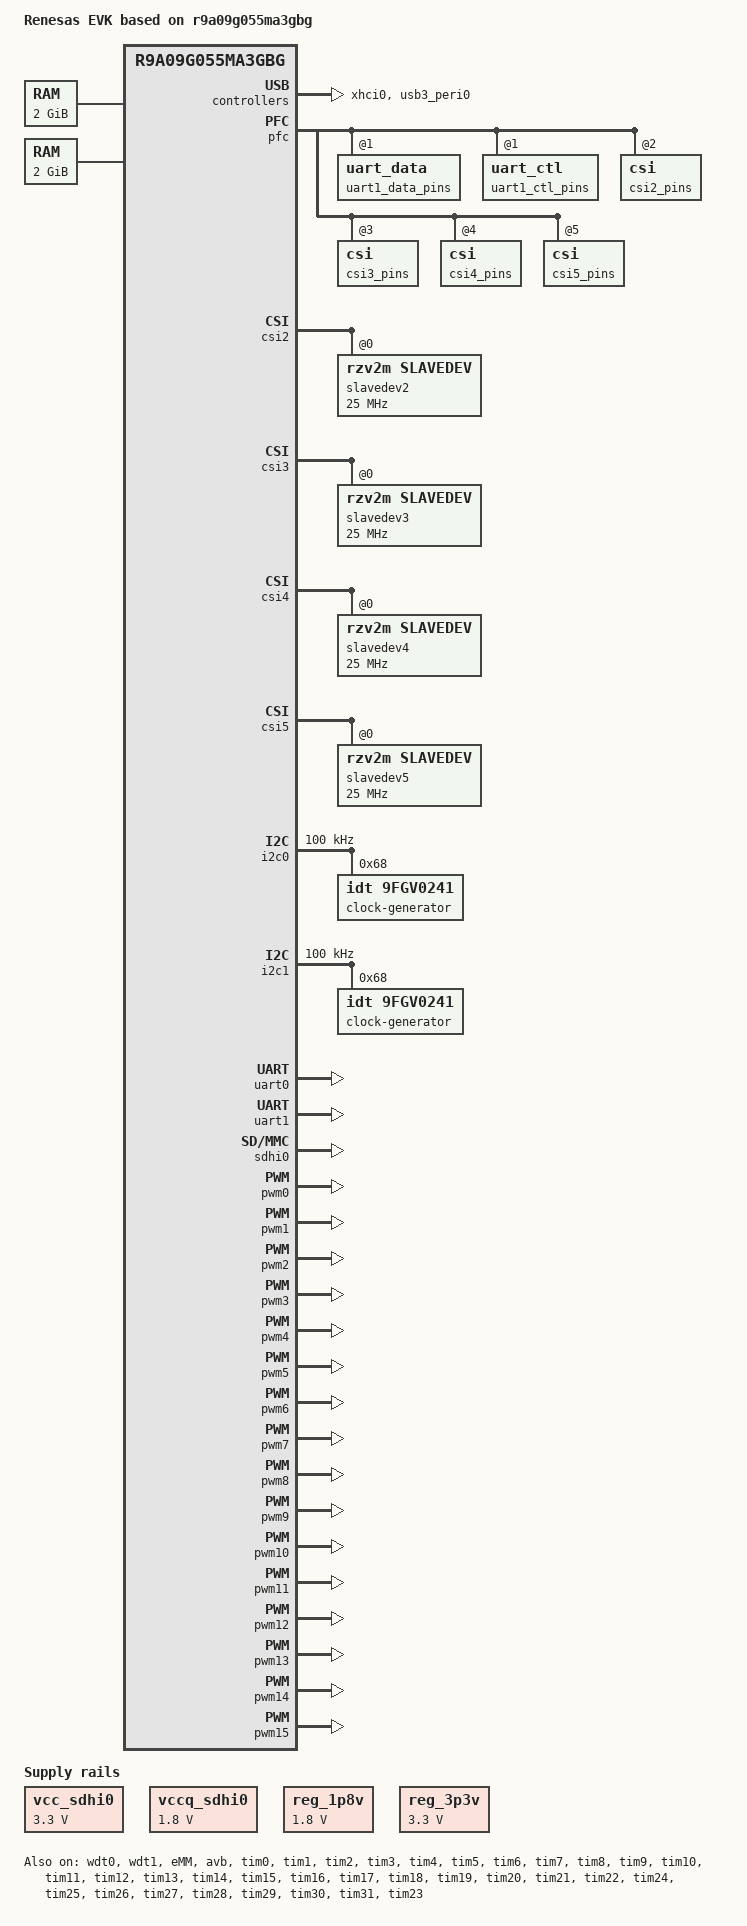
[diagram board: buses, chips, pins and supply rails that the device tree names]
// SPDX-License-Identifier: GPL-2.0
/*
 * Device Tree Source for the RZ/V2MA evaluation-board platform
 *
 * Copyright (C) 2023 Renesas Electronics Corp.
 */

/dts-v1/;
#include "r9a09g055ma3gbg.dtsi"
#include <dt-bindings/gpio/gpio.h>
#include "r9a09g055ma3gbg_reserved-memory.dtsi"
#include "r9a09g055ma3gbg_drp-ai.dtsi"
#include "r9a09g055ma3gbg_opencva.dtsi"
#include "r9a09g055ma3gbg_videocodec.dtsi"

/ {

    model = "Renesas EVK based on r9a09g055ma3gbg";
    compatible = "renesas,r9a09g055ma3gbg";

    aliases {
        serial0 = &uart0;
    };

    chosen {
        bootargs = "earlycon=uart,mmio32,0xA4040000,115200n8 console=ttyS0,115200n8 loglevel=8 vmalloc=384M root=/dev/mmcblk0p2 rootwait rootfstype=ext3 rw; rodata=off ip=dhcp";
        stdout-path = "serial0:115200n8";
    };

    memory@00000000 {
        device_type = "memory";
        reg = <0x0 0x00000000 0x0 0x80000000>;
    };

    memory@180000000 {
        device_type = "memory";
        reg = <0x1 0x80000000 0x0 0x80000000>;
    };

    vcc_sdhi0: regulator-vcc-sdhi0 {
        compatible = "regulator-fixed";

        regulator-name = "SDHI0 Vcc";
        regulator-min-microvolt = <3300000>;
        regulator-max-microvolt = <3300000>;
        regulator-always-on;
        regulator-boot-on;
    };

    vccq_sdhi0: regulator-vccq-sdhi0 {
        compatible = "regulator-fixed";

        regulator-name = "SDHI0 VccQ";
        regulator-min-microvolt = <1800000>;
	regulator-max-microvolt = <1800000>;
	regulator-always-on;
	regulator-boot-on;
    };

    reg_1p8v: regulator0 {
        compatible = "regulator-fixed";
        regulator-name = "fixed-1.8V";
        regulator-min-microvolt = <1800000>;
        regulator-max-microvolt = <1800000>;
        regulator-boot-on;
        regulator-always-on;
    };

    reg_3p3v: regulator1 {
        compatible = "regulator-fixed";
        regulator-name = "fixed-3.3V";
        regulator-min-microvolt = <3300000>;
        regulator-max-microvolt = <3300000>;
        regulator-boot-on;
        regulator-always-on;
    };
};

&cpg {
    cpg-non-set-div;
};

/* used cpg(clock pulse generator) */
&extal_clk {
    clock-frequency = <48000000>;
};

/* used watch dog timer */
&wdt0 {
	status = "okay";
	timeout-sec = <60>;
};

&wdt1 {
	status = "okay";
	timeout-sec = <60>;
};

&xhci0 {
       memory-region = <&global_cma>;
       status = "okay";
};

&usb3_peri0 {
    companion = <&xhci0>;
    status = "okay";
    renesas,usb-role-switch;

};

&pfc {
    status = "okay";
    pinctrl-names = "default";
    pwm0_pins: pwm@0 {
        groups = "pwm0";
        function = "pwm";
    };

    pwm1_pins: pwm@1 {
        groups = "pwm1";
        function = "pwm";
    };

    pwm2_pins: pwm@2 {
        groups = "pwm2";
        function = "pwm";
    };

    pwm3_pins: pwm@3 {
        groups = "pwm3";
        function = "pwm";
    };

    pwm4_pins: pwm4@ {
        groups = "pwm4";
        function = "pwm";
    };

    pwm5_pins: pwm@5 {
        groups = "pwm5";
        function = "pwm";
    };

    pwm6_pins: pwm@6 {
        groups = "pwm6";
        function = "pwm";
    };

    pwm7_pins: pwm@7 {
        groups = "pwm7";
        function = "pwm";
    };

    pwm8_pins: pwm@8 {
        groups = "pwm8";
        function = "pwm";
    };

    pwm9_pins: pwm@9 {
        groups = "pwm9";
        function = "pwm";
    };

    pwm10_pins: pwm@10 {
        groups = "pwm10";
        function = "pwm";
    };

    pwm11_pins: pwm@11 {
        groups = "pwm11";
        function = "pwm";
    };

    pwm12_pins: pwm@12 {
        groups = "pwm12";
        function = "pwm";
    };

    pwm13_pins: pwm@13 {
        groups = "pwm13";
        function = "pwm";
    };

    pwm14_pins: pwm@14 {
        groups = "pwm14";
        function = "pwm";
    };

    pwm15_pins: pwm@15 {
        groups = "pwm15";
        function = "pwm";
    };

    uart1_data_pins: uart_data@1 {
        groups = "uart1_data";
        function = "uart";
    };

    uart1_ctl_pins: uart_ctl@1 {
        groups = "uart1_ctl";
        function = "uart";
    };

    csi2_pins: csi@2 {
        groups = "csi2rw";
        function = "csi";
    };

    csi3_pins: csi@3 {
        groups = "csi3rw";
        function = "csi";
    };

    csi4_pins: csi@4 {
        groups = "csi4rw";
        function = "csi";
    };

    csi5_pins: csi@5 {
        groups = "csi5rw";
        function = "csi";
    };

    i2c0_pins: i2c@0 {
        groups = "i2c0";
        function = "i2c";
    };

    i2c1_pins: i2c@1 {
        groups = "i2c1";
        function = "i2c";
    };
};

&csi2{
    status = "okay";
    slavedev2: spi@0 {
        compatible = "rzv2m,slavedev";
        reg = <0>;
        spi-max-frequency = <25000000>;
        spi-cpha;
        spi-cpol;
    };
};

&csi3{
    status = "okay";
    slavedev3: spi@0 {
        compatible = "rzv2m,slavedev";
        reg = <0>;
        spi-max-frequency = <25000000>;
        spi-cpha;
        spi-cpol;
    };
};

&csi4{
    status = "okay";
    slavedev4: spi@0 {
        compatible = "rzv2m,slavedev";
        reg = <0>;
        spi-max-frequency = <25000000>;
        spi-cpha;
        spi-cpol;
    };
};

&csi5{
    status = "okay";
    slavedev5: spi@0 {
        compatible = "rzv2m,slavedev";
        reg = <0>;
        spi-max-frequency = <25000000>;
        spi-cpha;
        spi-cpol;
    };
};

&i2c0 {
    clock-frequency = <100000>;
    status = "okay";
    clock-generator@68 {
       compatible = "idt,9fgv0241";
       reg = <0x68>;
    };
};

&i2c1 {
    clock-frequency = <100000>;
    status = "okay";
    clock-generator@68 {
       compatible = "idt,9fgv0241";
       reg = <0x68>;
    };
};

&uart0 {
    status = "okay";
};

&uart1 {
    status = "okay";
};

&sdhi0 {
    psc-pins = <0>;
    status = "okay";
};

&eMM {
    status = "okay";
};

&avb {
    status = "okay";
};

&pwm0 {
    status = "okay";
};

&pwm1 {
    status = "okay";
};

&pwm2 {
    status = "okay";
};

&pwm3 {
    status = "okay";
};

&pwm4 {
    status = "okay";
};

&pwm5 {
    status = "okay";
};

&pwm6 {
    status = "okay";
};

&pwm7 {
    status = "okay";
};


&pwm8 {
    status = "okay";
};

&pwm9 {
    status = "okay";
};

&pwm10 {
    status = "okay";
};

&pwm11 {
    status = "okay";
};

&pwm12 {
    status = "okay";
};

&pwm13 {
    status = "okay";
};

&pwm14 {
    status = "okay";
};

&pwm15 {
    status = "okay";
};

&tim0 {
    status = "okay";
};

&tim1 {
    status = "okay";
};

&tim2 {
    status = "okay";
};

&tim3 {
    status = "okay";
};
&tim4 {
    status = "okay";
};
&tim5 {
    status = "okay";
};
&tim6 {
    status = "okay";
};
&tim7 {
    status = "okay";
};

&tim8 {
    status = "okay";
};

&tim9 {
    status = "okay";
};

&tim10 {
    status = "okay";
};

&tim11 {
    status = "okay";
};

&tim12 {
    status = "okay";
};

&tim13 {
    status = "okay";
};

&tim14 {
    status = "okay";
};

&tim15 {
    status = "okay";
};
&tim16 {
    status = "okay";
};

&tim17 {
    status = "okay";
};

&tim18 {
    status = "okay";
};

&tim19 {
    status = "okay";
};

&tim20 {
    status = "okay";
};

&tim21 {
    status = "okay";
};

&tim22 {
    status = "okay";
};

&tim24 {
    status = "okay";
};

&tim25 {
    status = "okay";
};

&tim26 {
    status = "okay";
};

&tim27 {
    status = "okay";
};

&tim28 {
    status = "okay";
};

&tim29 {
    status = "okay";
};

&tim30 {
    status = "okay";
};

&tim31 {
    status = "okay";
};

&tim23 {
    status = "okay";
};
